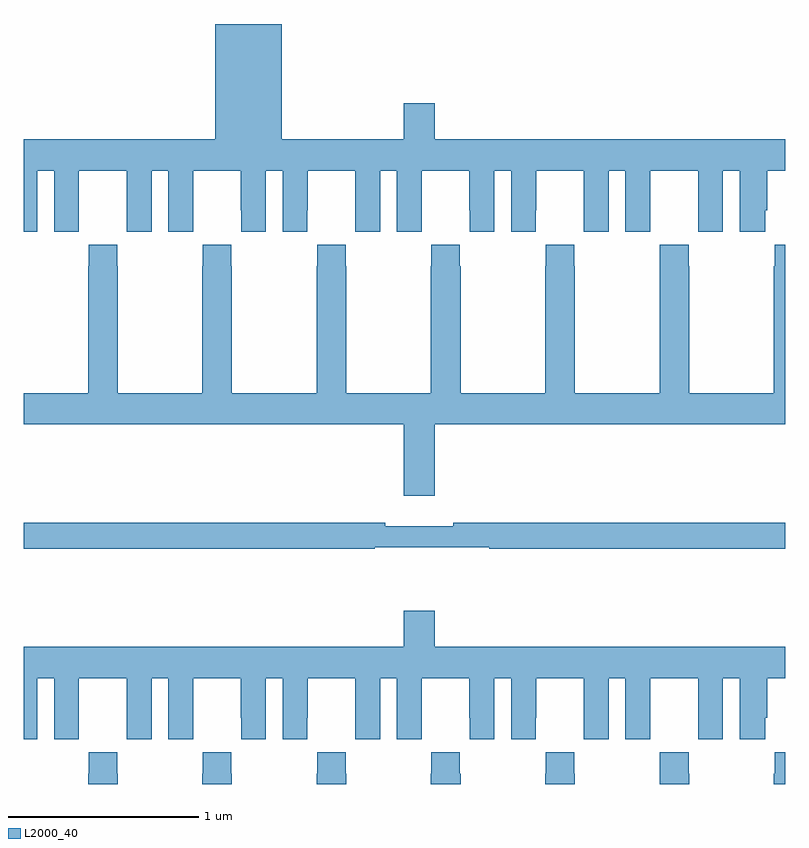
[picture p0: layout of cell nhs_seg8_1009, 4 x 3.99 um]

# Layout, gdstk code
import gdstk
lib = gdstk.Library(unit=1e-6, precision=1e-09)
def P(c, l, *ps):  # polygons
    for p in ps: c.add(gdstk.Polygon(p, *l))
L2000_40 = (2000, 40)

nhs_seg8_1009 = lib.new_cell('nhs_seg8_1009')
P(nhs_seg8_1009, L2000_40, [(175.072,1163.12),(175.16,1163.12),(175.16,1162.8),(175.29,1162.8),(175.29,1162.912),(175.291,1162.912),(175.291,1163.12),(175.541,1163.12),(175.541,1162.912),(175.542,1162.912),(175.542,1162.8),(175.672,1162.8),(175.672,1163.12),(175.76,1163.12),(175.76,1162.8),(175.89,1162.8),(175.89,1162.912),(175.891,1162.912),(175.891,1163.12),(176.141,1163.12),(176.141,1162.912),(176.142,1162.912),(176.142,1162.8),(176.272,1162.8),(176.272,1163.12),(176.36,1163.12),(176.36,1162.8),(176.49,1162.8),(176.49,1162.912),(176.491,1162.912),(176.491,1163.12),(176.741,1163.12),(176.741,1162.912),(176.742,1162.912),(176.742,1162.8),(176.872,1162.8),(176.872,1163.12),(176.96,1163.12),(176.96,1162.8),(177.09,1162.8),(177.09,1162.912),(177.091,1162.912),(177.091,1163.12),(177.341,1163.12),(177.341,1162.912),(177.342,1162.912),(177.342,1162.8),(177.472,1162.8),(177.472,1163.12),(177.56,1163.12),(177.56,1162.8),(177.69,1162.8),(177.69,1162.912),(177.691,1162.912),(177.691,1163.12),(177.941,1163.12),(177.941,1162.912),(177.942,1162.912),(177.942,1162.8),(178.072,1162.8),(178.072,1163.12),(178.16,1163.12),(178.16,1162.8),(178.29,1162.8),(178.29,1162.912),(178.291,1162.912),(178.291,1163.12),(178.541,1163.12),(178.541,1162.912),(178.542,1162.912),(178.542,1162.8),(178.672,1162.8),(178.672,1163.12),(178.76,1163.12),(178.76,1162.8),(178.894,1162.8),(178.894,1162.912),(178.904,1162.912),(178.904,1163.12),(179,1163.12),(179,1163.284),(177.16,1163.284),(177.16,1163.473),(176.996,1163.473),(176.996,1163.284),(176.356,1163.284),(176.356,1163.89),(176.006,1163.89),(176.006,1163.284),(175,1163.284),(175,1162.8),(175.072,1162.8)],
  [(176.541,1162.732),(176.541,1162.619),(176.539,1162.619),(176.539,1161.952),(176.094,1161.952),(176.094,1162.619),(176.091,1162.619),(176.091,1162.732),(175.941,1162.732),(175.941,1162.619),(175.939,1162.619),(175.939,1161.952),(175.494,1161.952),(175.494,1162.619),(175.491,1162.619),(175.491,1162.732),(175.341,1162.732),(175.341,1162.619),(175.339,1162.619),(175.339,1161.952),(175,1161.952),(175,1161.788),(176.996,1161.788),(176.996,1161.414),(177.16,1161.414),(177.16,1161.788),(179,1161.788),(179,1162.732),(178.945,1162.732),(178.945,1162.619),(178.939,1162.619),(178.939,1161.952),(178.494,1161.952),(178.494,1162.619),(178.491,1162.619),(178.491,1162.732),(178.341,1162.732),(178.341,1162.619),(178.339,1162.619),(178.339,1161.952),(177.894,1161.952),(177.894,1162.619),(177.891,1162.619),(177.891,1162.732),(177.741,1162.732),(177.741,1162.619),(177.739,1162.619),(177.739,1161.952),(177.294,1161.952),(177.294,1162.619),(177.291,1162.619),(177.291,1162.732),(177.141,1162.732),(177.141,1162.619),(177.139,1162.619),(177.139,1161.952),(176.694,1161.952),(176.694,1162.619),(176.691,1162.619),(176.691,1162.732)],
  [(176.845,1161.144),(177.445,1161.144),(177.445,1161.136),(179,1161.136),(179,1161.272),(177.256,1161.272),(177.256,1161.253),(176.9,1161.253),(176.9,1161.272),(175,1161.272),(175,1161.136),(176.845,1161.136)],
  [(175,1160.136),(175.072,1160.136),(175.072,1160.456),(175.16,1160.456),(175.16,1160.136),(175.29,1160.136),(175.29,1160.248),(175.291,1160.248),(175.291,1160.456),(175.541,1160.456),(175.541,1160.248),(175.542,1160.248),(175.542,1160.136),(175.672,1160.136),(175.672,1160.456),(175.76,1160.456),(175.76,1160.136),(175.89,1160.136),(175.89,1160.248),(175.891,1160.248),(175.891,1160.456),(176.141,1160.456),(176.141,1160.248),(176.142,1160.248),(176.142,1160.136),(176.272,1160.136),(176.272,1160.456),(176.36,1160.456),(176.36,1160.136),(176.49,1160.136),(176.49,1160.248),(176.491,1160.248),(176.491,1160.456),(176.741,1160.456),(176.741,1160.248),(176.742,1160.248),(176.742,1160.136),(176.872,1160.136),(176.872,1160.456),(176.96,1160.456),(176.96,1160.136),(177.09,1160.136),(177.09,1160.248),(177.091,1160.248),(177.091,1160.456),(177.341,1160.456),(177.341,1160.248),(177.342,1160.248),(177.342,1160.136),(177.472,1160.136),(177.472,1160.456),(177.56,1160.456),(177.56,1160.136),(177.69,1160.136),(177.69,1160.248),(177.691,1160.248),(177.691,1160.456),(177.941,1160.456),(177.941,1160.248),(177.942,1160.248),(177.942,1160.136),(178.072,1160.136),(178.072,1160.456),(178.16,1160.456),(178.16,1160.136),(178.29,1160.136),(178.29,1160.248),(178.291,1160.248),(178.291,1160.456),(178.541,1160.456),(178.541,1160.248),(178.542,1160.248),(178.542,1160.136),(178.672,1160.136),(178.672,1160.456),(178.76,1160.456),(178.76,1160.136),(178.894,1160.136),(178.894,1160.248),(178.904,1160.248),(178.904,1160.456),(179,1160.456),(179,1160.62),(177.16,1160.62),(177.16,1160.809),(176.996,1160.809),(176.996,1160.62),(175,1160.62)],
  [(178.494,1159.955),(178.491,1159.955),(178.491,1160.068),(178.341,1160.068),(178.341,1159.955),(178.339,1159.955),(178.339,1159.9),(178.494,1159.9)],
  [(179,1160.068),(178.945,1160.068),(178.945,1159.955),(178.939,1159.955),(178.939,1159.9),(179,1159.9)],
  [(175.494,1159.955),(175.491,1159.955),(175.491,1160.068),(175.341,1160.068),(175.341,1159.955),(175.339,1159.955),(175.339,1159.9),(175.494,1159.9)],
  [(176.094,1159.955),(176.091,1159.955),(176.091,1160.068),(175.941,1160.068),(175.941,1159.955),(175.939,1159.955),(175.939,1159.9),(176.094,1159.9)],
  [(176.694,1159.955),(176.691,1159.955),(176.691,1160.068),(176.541,1160.068),(176.541,1159.955),(176.539,1159.955),(176.539,1159.9),(176.694,1159.9)],
  [(177.294,1159.955),(177.291,1159.955),(177.291,1160.068),(177.141,1160.068),(177.141,1159.955),(177.139,1159.955),(177.139,1159.9),(177.294,1159.9)],
  [(177.894,1159.955),(177.891,1159.955),(177.891,1160.068),(177.741,1160.068),(177.741,1159.955),(177.739,1159.955),(177.739,1159.9),(177.894,1159.9)])

lib.write_gds('nhs_seg8_1009.gds')
